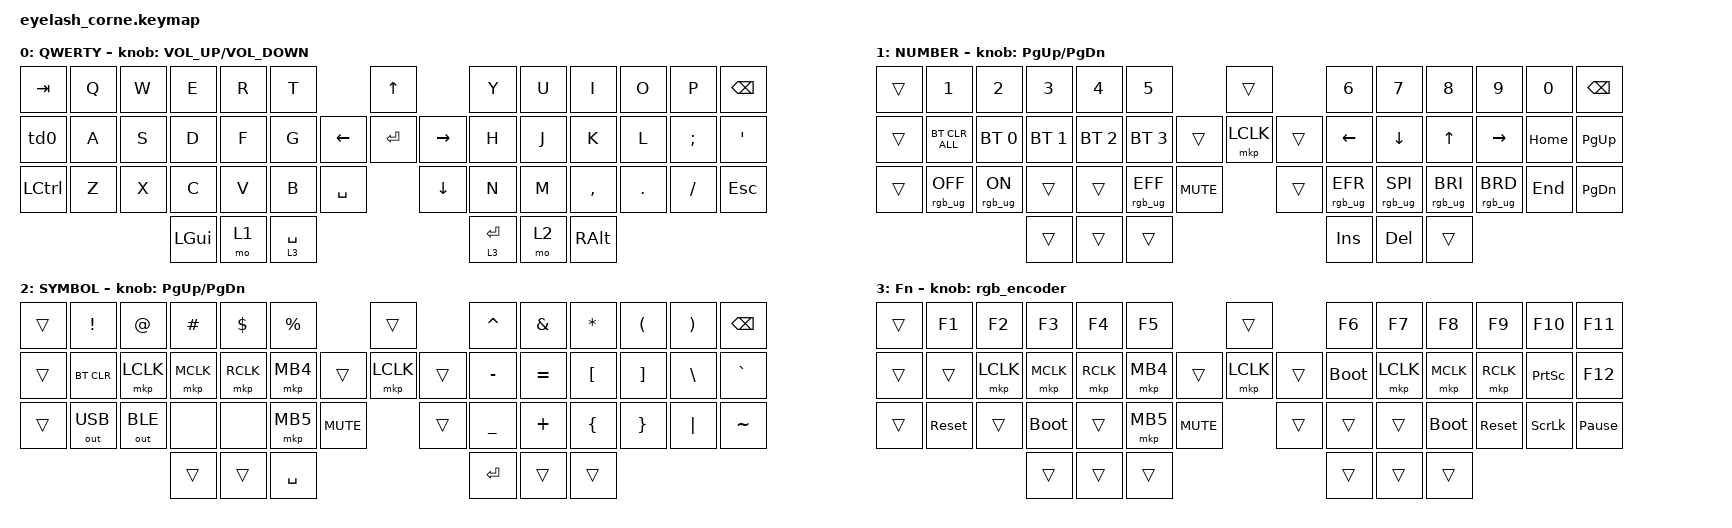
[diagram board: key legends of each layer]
#include <behaviors.dtsi>
#include <dt-bindings/zmk/bt.h>
#include <dt-bindings/zmk/keys.h>
#include <dt-bindings/zmk/mouse.h>
#include <dt-bindings/zmk/outputs.h>
#include <dt-bindings/zmk/rgb.h>

/ {
    combos {
        compatible = "zmk,combos";

        L_Parenthesis {
            bindings = <&kp LS(NUMBER_9)>;
            key-positions = <4 3>;
        };

        L_Brace {
            bindings = <&kp LS(LEFT_BRACKET)>;
            key-positions = <4 3 2>;
        };

        L_Bracket {
            bindings = <&kp LEFT_BRACKET>;
            key-positions = <4 3 2 1>;
        };

        R_Parenthesis {
            bindings = <&kp LS(NUMBER_0)>;
            key-positions = <7 8>;
        };

        R_Brace {
            bindings = <&kp LS(RIGHT_BRACKET)>;
            key-positions = <7 8 9>;
        };

        R_Bracket {
            bindings = <&kp RIGHT_BRACKET>;
            key-positions = <7 8 9 10>;
        };

        Space {
            bindings = <&kp SPACE>;
            key-positions = <16 15>;
        };

        Tab {
            bindings = <&kp TAB>;
            key-positions = <16 15 14>;
        };

        Escape {
            bindings = <&kp ESCAPE>;
            key-positions = <16 15 13 14>;
        };

        BackSpace {
            bindings = <&kp BACKSPACE>;
            key-positions = <19 20>;
        };

        Delete {
            bindings = <&kp DELETE>;
            key-positions = <19 20 21>;
        };

        Enter {
            bindings = <&kp ENTER>;
            key-positions = <19 20 21 22>;
        };

        Equal-0 {
            bindings = <&kp EQUAL>;
            key-positions = <28 27>;
        };

        Backslash {
            bindings = <&kp BACKSLASH>;
            key-positions = <28 27 26>;
        };

        Grave {
            bindings = <&kp GRAVE>;
            key-positions = <28 27 26 25>;
        };

        Plus-0 {
            bindings = <&kp LS(EQUAL)>;
            key-positions = <31 32>;
        };

        Pipe {
            bindings = <&kp LS(BACKSLASH)>;
            key-positions = <31 32 33>;
        };

        Tilde {
            bindings = <&kp LS(GRAVE)>;
            key-positions = <31 32 33 34>;
        };

        Underscore {
            bindings = <&kp LS(MINUS)>;
            key-positions = <16 37>;
        };

        Minus {
            bindings = <&kp MINUS>;
            key-positions = <28 37>;
        };

        Plus-1 {
            bindings = <&kp LS(EQUAL)>;
            key-positions = <19 40>;
        };

        Equal-1 {
            bindings = <&kp EQUAL>;
            key-positions = <31 40>;
        };

        TO0 {
            bindings = <&to 0>;
            key-positions = <38 39>;
        };
    };

    behaviors {
        mo_tag: mo_tag {
            compatible = "zmk,behavior-hold-tap";
            label = "MO_TAG";
            bindings = <&mo>, <&tog>;

            #binding-cells = <2>;
            tapping-term-ms = <200>;
        };

        TD_L1: TD_L1 {
            compatible = "zmk,behavior-tap-dance";
            label = "TD_L1";
            #binding-cells = <0>;
            tapping-term-ms = <200>;
            bindings = <&hold_mo 1>, <&tap_tog 1>;
        };

        TD_L2: TD_L2 {
            compatible = "zmk,behavior-tap-dance";
            label = "TD_L2";
            #binding-cells = <0>;
            tapping-term-ms = <200>;
            bindings = <&hold_mo 2>, <&tap_tog 2>;
        };

        TD_L3: TD_L3 {
            compatible = "zmk,behavior-tap-dance";
            label = "TD_L3";
            #binding-cells = <0>;
            tapping-term-ms = <200>;
            bindings = <&hold_mo 3>, <&tap_tog 3>;
        };

        hold_mo: hold_mo {
            compatible = "zmk,behavior-hold-tap";
            label = "HOLD_MO";
            bindings = <&mo>;
            #binding-cells = <2>;
            tapping-term-ms = <200>;
        };

        tap_tog: tap_tog {
            compatible = "zmk,behavior-hold-tap";
            label = "TAP_TOG";
            #binding-cells = <2>;
            tapping-term-ms = <200>;
            bindings = <&tog>;
        };
    };


    keymap {
        compatible = "zmk,keymap";

        default_layer {
            display-name = "QWERTY";

            bindings = <
&kp TAB    &kp Q  &kp W      &kp E     &kp R  &kp T                              &kp UP                &kp Y        &kp U  &kp I      &kp O    &kp P     &kp BSPC
&td0       &kp A  &kp S      &kp D     &kp F  &kp G                    &kp LEFT  &kp ENTER  &kp RIGHT  &kp H        &kp J  &kp K      &kp L    &kp SEMI  &kp SQT
&kp LCTRL  &kp Z  &kp X      &kp C     &kp V  &kp B       &kp SPACE              &kp DOWN              &kp N        &kp M  &kp COMMA  &kp DOT  &kp FSLH  &kp ESC
                             &kp LGUI  &mo 1  &lt 3 SPACE                                              &lt 3 ENTER  &mo 2  &kp RALT
            >;

            sensor-bindings = <&inc_dec_kp C_VOLUME_UP C_VOLUME_DOWN>;
        };

        lower_layer {
            display-name = "NUMBER";
            bindings = <
&trans  &kp N1           &kp N2          &kp N3        &kp N4        &kp N5                                &trans            &kp N6           &kp N7           &kp N8           &kp N9           &kp N0    &kp BSPC
&trans  &bt BT_CLR_ALL   &bt BT_SEL 0    &bt BT_SEL 1  &bt BT_SEL 2  &bt BT_SEL 3                  &trans  &mkp LCLK  &trans &kp LEFT         &kp DOWN         &kp UP           &kp RIGHT        &kp HOME  &kp PG_UP
&trans  &rgb_ug RGB_OFF  &rgb_ug RGB_ON  &trans        &trans        &rgb_ug RGB_EFF &kp C_MUTE            &trans            &rgb_ug RGB_EFR  &rgb_ug RGB_SPI  &rgb_ug RGB_BRI  &rgb_ug RGB_BRD  &kp END   &kp PG_DN
                                         &trans        &trans        &trans                                                  &kp INS          &kp DEL          &trans
            >;

            sensor-bindings = <&inc_dec_kp PG_UP PG_DN>;
        };

        raise_layer {
            display-name = "SYMBOL";
            bindings = <
&trans  &kp EXCL      &kp AT        &kp HASH   &kp DLLR   &kp PRCNT                       &trans            &kp CARET  &kp AMPS   &kp ASTRK  &kp LPAR  &kp RPAR  &kp BSPC
&trans  &bt BT_CLR    &mkp LCLK     &mkp MCLK  &mkp RCLK  &mkp MB4                &trans  &mkp LCLK  &trans &kp MINUS  &kp EQUAL  &kp LBKT   &kp RBKT  &kp BSLH  &kp GRAVE
&trans  &out OUT_USB  &out OUT_BLE  &none      &none      &mkp MB5  &kp C_MUTE            &trans            &kp UNDER  &kp PLUS   &kp LBRC   &kp RBRC  &kp PIPE  &kp TILDE
                                    &trans     &trans     &kp SPACE                                         &kp RET    &trans     &trans
            >;

            sensor-bindings = <&inc_dec_kp PG_UP PG_DN>;
        };

        layer_3 {
            display-name = "Fn";
            bindings = <
&trans  &kp F1      &kp F2      &kp F3       &kp F4     &kp F5                         &trans            &kp F6       &kp F7     &kp F8       &kp F9      &kp F10          &kp F11
&trans  &trans      &mkp LCLK   &mkp MCLK    &mkp RCLK  &mkp MB4               &trans  &mkp LCLK  &trans &bootloader  &mkp LCLK  &mkp MCLK    &mkp RCLK   &kp PRINTSCREEN  &kp F12
&trans  &sys_reset  &trans      &bootloader  &trans     &mkp MB5 &kp C_MUTE            &trans            &trans       &trans     &bootloader  &sys_reset  &kp SCROLLLOCK   &kp PAUSE_BREAK
                                &trans      &trans      &trans                                           &trans       &trans     &trans
            >;

            sensor-bindings = <&rgb_encoder>;
        };
    };
};
